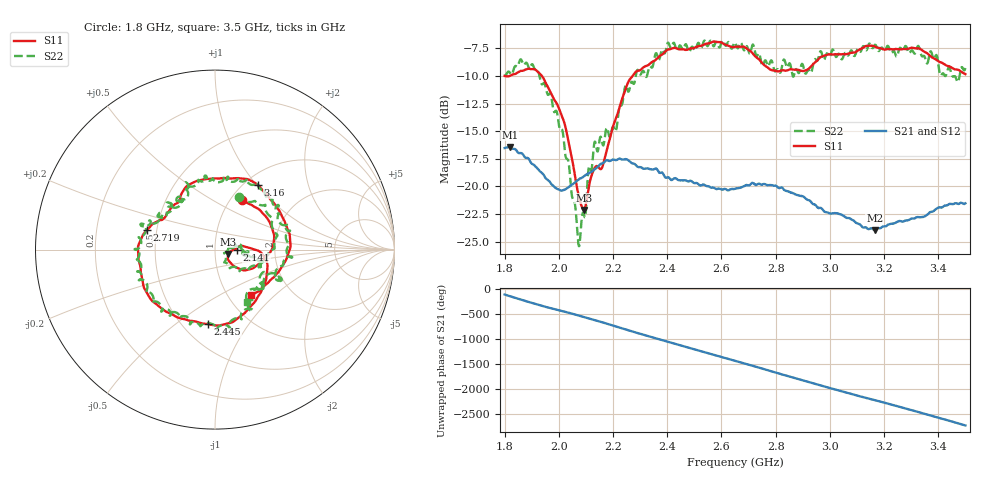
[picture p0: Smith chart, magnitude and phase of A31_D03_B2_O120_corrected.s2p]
! Created with skrf 1.9.0 (http://scikit-rf.org).
# Hz S RI R 50.0
!freq ReS11 ImS11 ReS21 ImS21 ReS12 ImS12 ReS22 ImS22
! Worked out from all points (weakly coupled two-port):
!   1601 points, 1.8 GHz to 3.5 GHz, reference 50 ohm
!   highest |S21| = -16.43 dB at 1.819 GHz (marker M1); lowest = -23.9 dB at 3.165 GHz (marker M2)
!   lowest |S11| = -22.1 dB at 2.092 GHz (marker M3), VSWR 1.17, Z = 57.9 - j2.91 ohm
!   |S11| at or under -10 dB: start of sweep to 1.819 GHz; 1.938 GHz to 2.272 GHz (334.9 MHz wide, 15.9 % of centre)
!   |S22| runs from -25.4 to -6.8 dB; largest |S21 - S12| = 0.0026
!   S11 on the Smith chart (normalised r, x): 1.8 GHz: 1.12, +0.70; 2.141 GHz: 1.28, -0.00; 2.445 GHz: 0.66, -0.66; 2.719 GHz: 0.44, +0.11; 3.16 GHz: 1.15, +1.02; 3.5 GHz: 1.27, -0.72
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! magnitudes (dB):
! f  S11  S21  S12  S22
! 1.8 GHz  -10.0  -16.5  -16.5  -9.9
! 1.819 GHz  -10.0  -16.4  -16.5  -9.7
! 1.903 GHz  -9.4  -18.0  -18.0  -9.0
! 1.968 GHz  -11.4  -19.6  -19.7  -11.6
! 2.015 GHz  -13.8  -20.4  -20.4  -15.1
! 2.072 GHz  -20.7  -19.4  -19.4  -25.2
! 2.084 GHz  -21.8  -19.2  -19.2  -23.1
! 2.092 GHz  -22.1  -19.1  -19.2  -22.5
! 2.112 GHz  -19.8  -18.8  -18.8  -18.2
! 2.141 GHz  -18.2  -18.3  -18.3  -16.8
! 2.209 GHz  -14.0  -17.6  -17.6  -15.0
! 2.259 GHz  -10.4  -17.7  -17.7  -11.4
! 2.367 GHz  -8.3  -18.6  -18.6  -8.5
! 2.445 GHz  -7.6  -19.4  -19.4  -7.3
! 2.65 GHz  -7.4  -20.2  -20.2  -7.0
! 2.719 GHz  -8.1  -19.7  -19.7  -7.3
! 2.803 GHz  -9.6  -20.0  -20.0  -9.5
! 2.934 GHz  -9.1  -21.5  -21.5  -9.5
! 3.16 GHz  -7.3  -23.9  -23.8  -7.4
! 3.165 GHz  -7.3  -23.9  -23.9  -7.2
! 3.217 GHz  -7.6  -23.4  -23.4  -7.4
! 3.5 GHz  -9.8  -21.5  -21.5  -9.3
